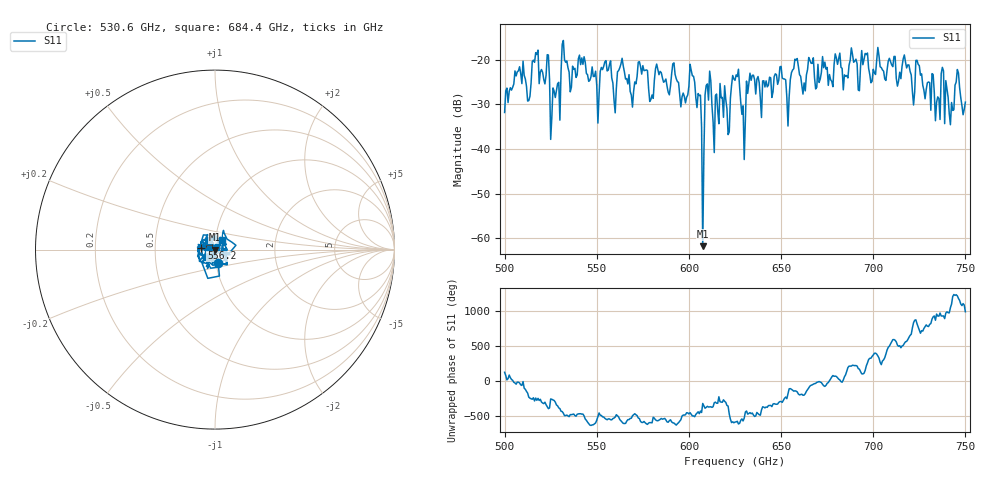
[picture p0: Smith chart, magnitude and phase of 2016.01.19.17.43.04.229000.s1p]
!Created with skrf (http://scikit-rf.org).
# GHz S RI R 50.0
!freq ReS11 ImS11
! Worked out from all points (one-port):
!   401 points, 500 GHz to 750 GHz, reference 50 ohm
!   lowest |S11| = -61.8 dB at 607.5 GHz (marker M1), VSWR 1.00, Z = 50.1 + j0.0471 ohm
!   |S11| at or under -10 dB: start of sweep to end of sweep
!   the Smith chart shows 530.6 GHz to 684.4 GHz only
!   S11 on the Smith chart (normalised r, x): 530.6 GHz: 1.02, -0.15; 556.2 GHz: 0.86, +0.01; 684.4 GHz: 1.07, +0.12
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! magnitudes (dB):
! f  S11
! 500 GHz  -31.8
! 506.9 GHz  -22.7
! 513.1 GHz  -29.1
! 516.9 GHz  -18.4
! 526.2 GHz  -26.3
! 530.6 GHz  -22.6
! 531.2 GHz  -16.5
! 550 GHz  -25.8
! 556.2 GHz  -22.3
! 559.4 GHz  -29.1
! 562.5 GHz  -21.8
! 569.4 GHz  -30.6
! 573.8 GHz  -21.5
! 579.4 GHz  -28.9
! 593.8 GHz  -24.9
! 601.9 GHz  -23.6
! 607.5 GHz  -61.8
! 610.6 GHz  -29.0
! 621.2 GHz  -36.8
! 625 GHz  -24.6
! 629.4 GHz  -30.3
! 633.8 GHz  -24.6
! 653.8 GHz  -34.9
! 656.2 GHz  -22.3
! 684.4 GHz  -23.4
! 687.5 GHz  -20.1
! 718.8 GHz  -21.1
! 750 GHz  -29.5
